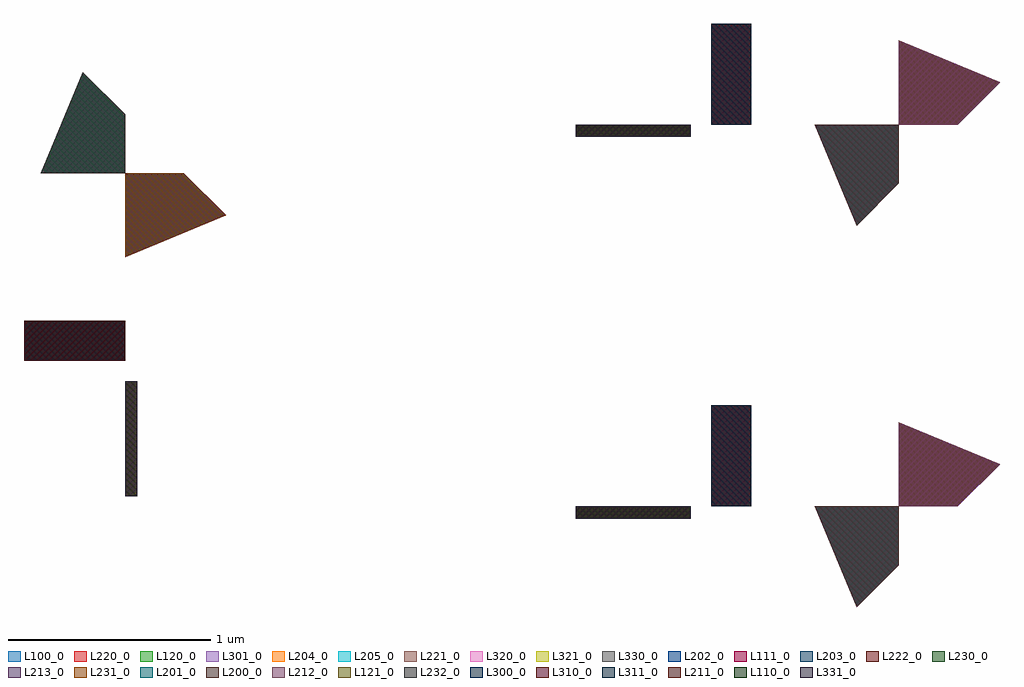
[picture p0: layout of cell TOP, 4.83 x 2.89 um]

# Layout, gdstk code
import gdstk
lib = gdstk.Library(unit=1e-6, precision=1e-09)
def R(c, l, rs):  # rectangles x0, y0, x1, y1
    for r in rs: c.add(gdstk.rectangle(r[:2], r[2:], *l))
def P(c, l, *ps):  # polygons
    for p in ps: c.add(gdstk.Polygon(p, *l))
L100_0 = (100, 0)
L110_0 = (110, 0)
L111_0 = (111, 0)
L120_0 = (120, 0)
L121_0 = (121, 0)
L200_0 = (200, 0)
L201_0 = (201, 0)
L202_0 = (202, 0)
L203_0 = (203, 0)
L204_0 = (204, 0)
L205_0 = (205, 0)
L211_0 = (211, 0)
L212_0 = (212, 0)
L213_0 = (213, 0)
L220_0 = (220, 0)
L221_0 = (221, 0)
L222_0 = (222, 0)
L230_0 = (230, 0)
L231_0 = (231, 0)
L232_0 = (232, 0)
L300_0 = (300, 0)
L301_0 = (301, 0)
L310_0 = (310, 0)
L311_0 = (311, 0)
L320_0 = (320, 0)
L321_0 = (321, 0)
L330_0 = (330, 0)
L331_0 = (331, 0)

top = lib.new_cell('TOP')
R(top, L100_0, [(-1.09,0.91,-0.52,0.97), (-0.42,0.97,-0.22,1.47), (-3.32,1.02,-3.26,1.59), (-3.82,1.69,-3.32,1.89), (-1.09,2.8,-0.52,2.86), (-0.42,2.86,-0.22,3.36)])
P(top, L100_0, [(0.51,0.97),(0.51,1.387),(1.01,1.18),(0.8,0.97)],
  [(-3.32,2.203),(-3.32,2.62),(-3.03,2.62),(-2.82,2.41)],
  [(0.3,2.36),(0.093,2.86),(0.51,2.86),(0.51,2.57)],
  [(0.3,0.47),(0.093,0.97),(0.51,0.97),(0.51,0.68)],
  [(0.51,2.86),(0.51,3.277),(1.01,3.07),(0.8,2.86)],
  [(-3.737,2.62),(-3.53,3.12),(-3.32,2.91),(-3.32,2.62)])
R(top, L110_0, [(-1.09,0.91,-0.52,0.97), (-3.32,1.02,-3.26,1.59), (-1.09,2.8,-0.52,2.86)])
P(top, L111_0, [(0.51,0.97),(0.51,1.387),(1.01,1.18),(0.8,0.97)],
  [(-3.32,2.203),(-3.32,2.62),(-3.03,2.62),(-2.82,2.41)],
  [(0.3,2.36),(0.093,2.86),(0.51,2.86),(0.51,2.57)],
  [(0.3,0.47),(0.093,0.97),(0.51,0.97),(0.51,0.68)],
  [(0.51,2.86),(0.51,3.277),(1.01,3.07),(0.8,2.86)],
  [(-3.737,2.62),(-3.53,3.12),(-3.32,2.91),(-3.32,2.62)])
R(top, L120_0, [(-0.42,0.97,-0.22,1.47), (-3.82,1.69,-3.32,1.89), (-0.42,2.86,-0.22,3.36)])
P(top, L120_0, [(0.51,0.97),(0.51,1.387),(1.01,1.18),(0.8,0.97)],
  [(-3.32,2.203),(-3.32,2.62),(-3.03,2.62),(-2.82,2.41)],
  [(0.3,2.36),(0.093,2.86),(0.51,2.86),(0.51,2.57)],
  [(0.3,0.47),(0.093,0.97),(0.51,0.97),(0.51,0.68)],
  [(0.51,2.86),(0.51,3.277),(1.01,3.07),(0.8,2.86)],
  [(-3.737,2.62),(-3.53,3.12),(-3.32,2.91),(-3.32,2.62)])
R(top, L121_0, [(-1.09,0.91,-0.52,0.97), (-0.42,0.97,-0.22,1.47), (-3.32,1.02,-3.26,1.59), (-3.82,1.69,-3.32,1.89), (-1.09,2.8,-0.52,2.86), (-0.42,2.86,-0.22,3.36)])
P(top, L200_0, [(0.51,0.97),(0.51,1.387),(1.01,1.18),(0.8,0.97)],
  [(0.3,2.36),(0.093,2.86),(0.51,2.86),(0.51,2.57)],
  [(0.3,0.47),(0.093,0.97),(0.51,0.97),(0.51,0.68)],
  [(0.51,2.86),(0.51,3.277),(1.01,3.07),(0.8,2.86)])
R(top, L201_0, [(-1.09,0.91,-0.52,0.97), (-3.82,1.69,-3.32,1.89), (-1.09,2.8,-0.52,2.86)])
P(top, L201_0, [(0.3,2.36),(0.093,2.86),(0.51,2.86),(0.51,2.57)],
  [(0.3,0.47),(0.093,0.97),(0.51,0.97),(0.51,0.68)],
  [(-3.737,2.62),(-3.53,3.12),(-3.32,2.91),(-3.32,2.62)])
R(top, L202_0, [(-0.42,0.97,-0.22,1.47), (-3.32,1.02,-3.26,1.59), (-0.42,2.86,-0.22,3.36)])
P(top, L202_0, [(0.51,0.97),(0.51,1.387),(1.01,1.18),(0.8,0.97)],
  [(-3.32,2.203),(-3.32,2.62),(-3.03,2.62),(-2.82,2.41)],
  [(0.3,2.36),(0.093,2.86),(0.51,2.86),(0.51,2.57)],
  [(0.3,0.47),(0.093,0.97),(0.51,0.97),(0.51,0.68)],
  [(0.51,2.86),(0.51,3.277),(1.01,3.07),(0.8,2.86)])
P(top, L203_0, [(0.51,0.97),(0.51,1.387),(1.01,1.18),(0.8,0.97)],
  [(-3.32,2.203),(-3.32,2.62),(-3.03,2.62),(-2.82,2.41)],
  [(0.3,2.36),(0.093,2.86),(0.51,2.86),(0.51,2.57)],
  [(0.3,0.47),(0.093,0.97),(0.51,0.97),(0.51,0.68)],
  [(0.51,2.86),(0.51,3.277),(1.01,3.07),(0.8,2.86)],
  [(-3.737,2.62),(-3.53,3.12),(-3.32,2.91),(-3.32,2.62)])
R(top, L204_0, [(-0.42,0.97,-0.22,1.47), (-3.32,1.02,-3.26,1.59), (-0.42,2.86,-0.22,3.36)])
P(top, L204_0, [(0.51,0.97),(0.51,1.387),(1.01,1.18),(0.8,0.97)],
  [(-3.32,2.203),(-3.32,2.62),(-3.03,2.62),(-2.82,2.41)],
  [(0.3,2.36),(0.093,2.86),(0.51,2.86),(0.51,2.57)],
  [(0.3,0.47),(0.093,0.97),(0.51,0.97),(0.51,0.68)],
  [(0.51,2.86),(0.51,3.277),(1.01,3.07),(0.8,2.86)],
  [(-3.737,2.62),(-3.53,3.12),(-3.32,2.91),(-3.32,2.62)])
R(top, L205_0, [(-0.42,0.97,-0.22,1.47), (-3.32,1.02,-3.26,1.59), (-0.42,2.86,-0.22,3.36)])
P(top, L205_0, [(0.51,0.97),(0.51,1.387),(1.01,1.18),(0.8,0.97)],
  [(-3.32,2.203),(-3.32,2.62),(-3.03,2.62),(-2.82,2.41)],
  [(0.3,2.36),(0.093,2.86),(0.51,2.86),(0.51,2.57)],
  [(0.3,0.47),(0.093,0.97),(0.51,0.97),(0.51,0.68)],
  [(0.51,2.86),(0.51,3.277),(1.01,3.07),(0.8,2.86)],
  [(-3.737,2.62),(-3.53,3.12),(-3.32,2.91),(-3.32,2.62)])
R(top, L211_0, [(-1.09,0.91,-0.52,0.97), (-3.82,1.69,-3.32,1.89), (-1.09,2.8,-0.52,2.86)])
R(top, L212_0, [(-0.42,0.97,-0.22,1.47), (-3.32,1.02,-3.26,1.59), (-0.42,2.86,-0.22,3.36)])
P(top, L212_0, [(0.51,0.97),(0.51,1.387),(1.01,1.18),(0.8,0.97)],
  [(0.51,2.86),(0.51,3.277),(1.01,3.07),(0.8,2.86)])
R(top, L213_0, [(-0.42,0.97,-0.22,1.47), (-3.32,1.02,-3.26,1.59), (-0.42,2.86,-0.22,3.36)])
P(top, L213_0, [(0.51,0.97),(0.51,1.387),(1.01,1.18),(0.8,0.97)],
  [(-3.32,2.203),(-3.32,2.62),(-3.03,2.62),(-2.82,2.41)],
  [(0.51,2.86),(0.51,3.277),(1.01,3.07),(0.8,2.86)])
R(top, L220_0, [(-1.09,0.91,-0.52,0.97), (-0.42,0.97,-0.22,1.47), (-3.32,1.02,-3.26,1.59), (-3.82,1.69,-3.32,1.89), (-1.09,2.8,-0.52,2.86), (-0.42,2.86,-0.22,3.36)])
P(top, L220_0, [(0.51,0.97),(0.51,1.387),(1.01,1.18),(0.8,0.97)],
  [(-3.32,2.203),(-3.32,2.62),(-3.03,2.62),(-2.82,2.41)],
  [(0.3,2.36),(0.093,2.86),(0.51,2.86),(0.51,2.57)],
  [(0.3,0.47),(0.093,0.97),(0.51,0.97),(0.51,0.68)],
  [(0.51,2.86),(0.51,3.277),(1.01,3.07),(0.8,2.86)],
  [(-3.737,2.62),(-3.53,3.12),(-3.32,2.91),(-3.32,2.62)])
R(top, L221_0, [(-0.42,0.97,-0.22,1.47), (-3.32,1.02,-3.26,1.59), (-0.42,2.86,-0.22,3.36)])
P(top, L221_0, [(0.51,0.97),(0.51,1.387),(1.01,1.18),(0.8,0.97)],
  [(-3.32,2.203),(-3.32,2.62),(-3.03,2.62),(-2.82,2.41)],
  [(0.3,2.36),(0.093,2.86),(0.51,2.86),(0.51,2.57)],
  [(0.3,0.47),(0.093,0.97),(0.51,0.97),(0.51,0.68)],
  [(0.51,2.86),(0.51,3.277),(1.01,3.07),(0.8,2.86)],
  [(-3.737,2.62),(-3.53,3.12),(-3.32,2.91),(-3.32,2.62)])
R(top, L222_0, [(-1.09,0.91,-0.52,0.97), (-3.82,1.69,-3.32,1.89), (-1.09,2.8,-0.52,2.86)])
P(top, L222_0, [(-3.32,2.203),(-3.32,2.62),(-3.03,2.62),(-2.82,2.41)],
  [(0.3,2.36),(0.093,2.86),(0.51,2.86),(0.51,2.57)],
  [(0.3,0.47),(0.093,0.97),(0.51,0.97),(0.51,0.68)],
  [(-3.737,2.62),(-3.53,3.12),(-3.32,2.91),(-3.32,2.62)])
R(top, L230_0, [(-1.09,0.91,-0.52,0.97), (-0.42,0.97,-0.22,1.47), (-3.32,1.02,-3.26,1.59), (-3.82,1.69,-3.32,1.89), (-1.09,2.8,-0.52,2.86), (-0.42,2.86,-0.22,3.36)])
P(top, L230_0, [(-3.32,2.203),(-3.32,2.62),(-3.03,2.62),(-2.82,2.41)],
  [(-3.737,2.62),(-3.53,3.12),(-3.32,2.91),(-3.32,2.62)])
R(top, L231_0, [(-0.42,0.97,-0.22,1.47), (-3.32,1.02,-3.26,1.59), (-0.42,2.86,-0.22,3.36)])
P(top, L231_0, [(0.51,0.97),(0.51,1.387),(1.01,1.18),(0.8,0.97)],
  [(-3.32,2.203),(-3.32,2.62),(-3.03,2.62),(-2.82,2.41)],
  [(0.51,2.86),(0.51,3.277),(1.01,3.07),(0.8,2.86)])
R(top, L232_0, [(-1.09,0.91,-0.52,0.97), (-3.82,1.69,-3.32,1.89), (-1.09,2.8,-0.52,2.86)])
P(top, L232_0, [(-3.737,2.62),(-3.53,3.12),(-3.32,2.91),(-3.32,2.62)])
R(top, L300_0, [(-0.42,0.97,-0.22,1.47), (-3.82,1.69,-3.32,1.89), (-0.42,2.86,-0.22,3.36)])
R(top, L301_0, [(-0.42,0.97,-0.22,1.47), (-3.82,1.69,-3.32,1.89), (-0.42,2.86,-0.22,3.36)])
P(top, L301_0, [(0.51,0.97),(0.51,1.387),(1.01,1.18),(0.8,0.97)],
  [(-3.32,2.203),(-3.32,2.62),(-3.03,2.62),(-2.82,2.41)],
  [(0.3,2.36),(0.093,2.86),(0.51,2.86),(0.51,2.57)],
  [(0.3,0.47),(0.093,0.97),(0.51,0.97),(0.51,0.68)],
  [(0.51,2.86),(0.51,3.277),(1.01,3.07),(0.8,2.86)],
  [(-3.737,2.62),(-3.53,3.12),(-3.32,2.91),(-3.32,2.62)])
R(top, L310_0, [(-0.42,0.97,-0.22,1.47), (-3.82,1.69,-3.32,1.89), (-0.42,2.86,-0.22,3.36)])
R(top, L311_0, [(-0.42,0.97,-0.22,1.47), (-3.82,1.69,-3.32,1.89), (-0.42,2.86,-0.22,3.36)])
R(top, L320_0, [(-1.09,0.91,-0.52,0.97), (-3.32,1.02,-3.26,1.59), (-1.09,2.8,-0.52,2.86)])
P(top, L320_0, [(0.51,0.97),(0.51,1.387),(1.01,1.18),(0.8,0.97)],
  [(-3.32,2.203),(-3.32,2.62),(-3.03,2.62),(-2.82,2.41)],
  [(0.3,2.36),(0.093,2.86),(0.51,2.86),(0.51,2.57)],
  [(0.3,0.47),(0.093,0.97),(0.51,0.97),(0.51,0.68)],
  [(0.51,2.86),(0.51,3.277),(1.01,3.07),(0.8,2.86)],
  [(-3.737,2.62),(-3.53,3.12),(-3.32,2.91),(-3.32,2.62)])
R(top, L321_0, [(-1.09,0.91,-0.52,0.97), (-3.32,1.02,-3.26,1.59), (-1.09,2.8,-0.52,2.86)])
P(top, L321_0, [(0.51,0.97),(0.51,1.387),(1.01,1.18),(0.8,0.97)],
  [(-3.32,2.203),(-3.32,2.62),(-3.03,2.62),(-2.82,2.41)],
  [(0.3,2.36),(0.093,2.86),(0.51,2.86),(0.51,2.57)],
  [(0.3,0.47),(0.093,0.97),(0.51,0.97),(0.51,0.68)],
  [(0.51,2.86),(0.51,3.277),(1.01,3.07),(0.8,2.86)],
  [(-3.737,2.62),(-3.53,3.12),(-3.32,2.91),(-3.32,2.62)])
R(top, L330_0, [(-1.09,0.91,-0.52,0.97), (-3.32,1.02,-3.26,1.59), (-1.09,2.8,-0.52,2.86)])
P(top, L330_0, [(0.51,0.97),(0.51,1.387),(1.01,1.18),(0.8,0.97)],
  [(-3.32,2.203),(-3.32,2.62),(-3.03,2.62),(-2.82,2.41)],
  [(0.3,2.36),(0.093,2.86),(0.51,2.86),(0.51,2.57)],
  [(0.3,0.47),(0.093,0.97),(0.51,0.97),(0.51,0.68)],
  [(0.51,2.86),(0.51,3.277),(1.01,3.07),(0.8,2.86)],
  [(-3.737,2.62),(-3.53,3.12),(-3.32,2.91),(-3.32,2.62)])
R(top, L331_0, [(-1.09,0.91,-0.52,0.97), (-3.32,1.02,-3.26,1.59), (-1.09,2.8,-0.52,2.86)])

lib.write_gds('TOP.gds')
